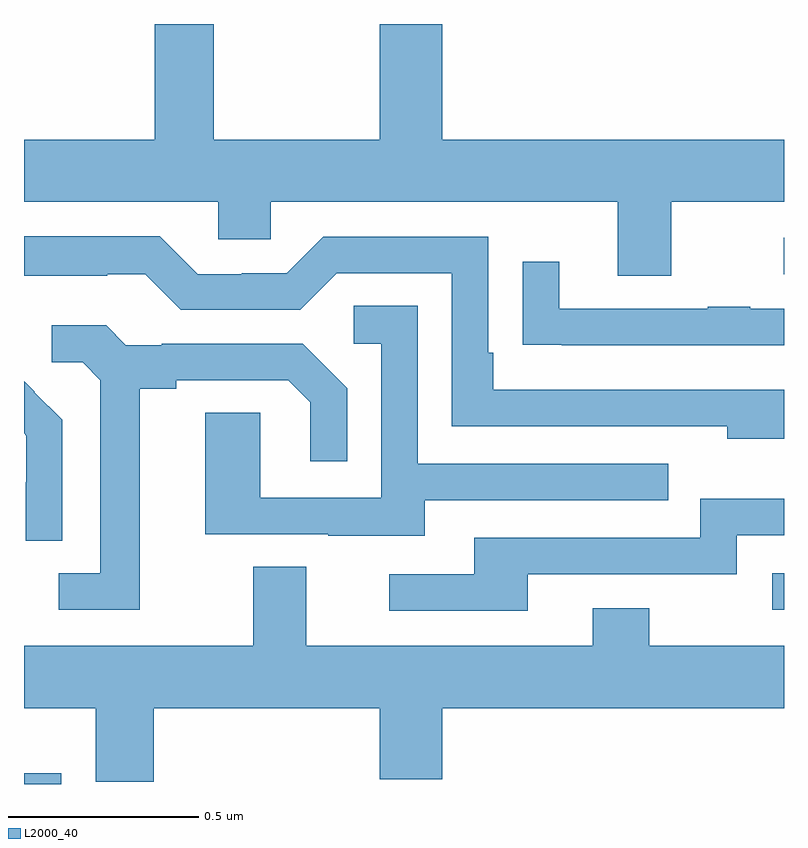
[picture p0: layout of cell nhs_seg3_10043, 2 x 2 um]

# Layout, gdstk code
import gdstk
lib = gdstk.Library(unit=1e-6, precision=1e-09)
def R(c, l, rs):  # rectangles x0, y0, x1, y1
    for r in rs: c.add(gdstk.rectangle(r[:2], r[2:], *l))
def P(c, l, *ps):  # polygons
    for p in ps: c.add(gdstk.Polygon(p, *l))
L2000_40 = (2000, 40)

nhs_seg3_10043 = lib.new_cell('nhs_seg3_10043')
R(nhs_seg3_10043, L2000_40, [(236,683.4,236.098,683.428), (237.969,683.859,238,683.955), (237.999,684.741,238,684.837)])
P(nhs_seg3_10043, L2000_40, [(237.703,684.932),(238,684.932),(238,685.096),(237.1,685.096),(237.1,685.4),(236.936,685.4),(236.936,685.096),(236.499,685.096),(236.499,685.4),(236.344,685.4),(236.344,685.096),(236,685.096),(236,684.932),(236.511,684.932),(236.511,684.834),(236.649,684.834),(236.649,684.932),(237.563,684.932),(237.563,684.738),(237.703,684.738)],
  [(238,684.438),(237.235,684.438),(237.235,684.535),(237.222,684.535),(237.222,684.84),(236.787,684.84),(236.691,684.744),(236.573,684.744),(236.573,684.741),(236.457,684.741),(236.357,684.841),(236,684.841),(236,684.737),(236.219,684.737),(236.219,684.741),(236.319,684.741),(236.412,684.648),(236.727,684.648),(236.823,684.744),(237.126,684.744),(237.126,684.342),(237.851,684.342),(237.851,684.308),(238,684.308)],
  [(238,684.651),(237.911,684.651),(237.911,684.656),(237.799,684.656),(237.799,684.651),(237.409,684.651),(237.409,684.775),(237.313,684.775),(237.313,684.556),(237.415,684.556),(237.415,684.555),(238,684.555)],
  [(237.055,684.147),(237.695,684.147),(237.695,684.243),(237.036,684.243),(237.036,684.659),(236.868,684.659),(236.868,684.558),(236.94,684.558),(236.94,684.153),(236.622,684.153),(236.622,684.377),(236.477,684.377),(236.477,684.057),(236.801,684.057),(236.801,684.053),(237.055,684.053)],
  [(236.305,684.44),(236.401,684.44),(236.401,684.462),(236.696,684.462),(236.753,684.405),(236.753,684.249),(236.85,684.249),(236.85,684.442),(236.734,684.558),(236.362,684.558),(236.362,684.555),(236.268,684.555),(236.216,684.607),(236.073,684.607),(236.073,684.51),(236.154,684.51),(236.201,684.463),(236.201,683.955),(236.091,683.955),(236.091,683.859),(236.305,683.859)],
  [(236.1,684.358),(236.027,684.431),(236.028,684.432),(236,684.46),(236,684.323),(236.006,684.317),(236.006,684.194),(236.004,684.194),(236.004,684.04),(236.1,684.04)],
  [(237.325,683.952),(237.876,683.952),(237.876,684.054),(238,684.054),(238,684.151),(237.78,684.151),(237.78,684.048),(237.185,684.048),(237.185,683.952),(236.961,683.952),(236.961,683.856),(237.325,683.856)],
  [(236.342,683.6),(236.936,683.6),(236.936,683.412),(237.1,683.412),(237.1,683.6),(238,683.6),(238,683.764),(237.645,683.764),(237.645,683.863),(237.497,683.863),(237.497,683.764),(236.743,683.764),(236.743,683.972),(236.603,683.972),(236.603,683.764),(236,683.764),(236,683.6),(236.189,683.6),(236.189,683.406),(236.342,683.406)])

lib.write_gds('nhs_seg3_10043.gds')
